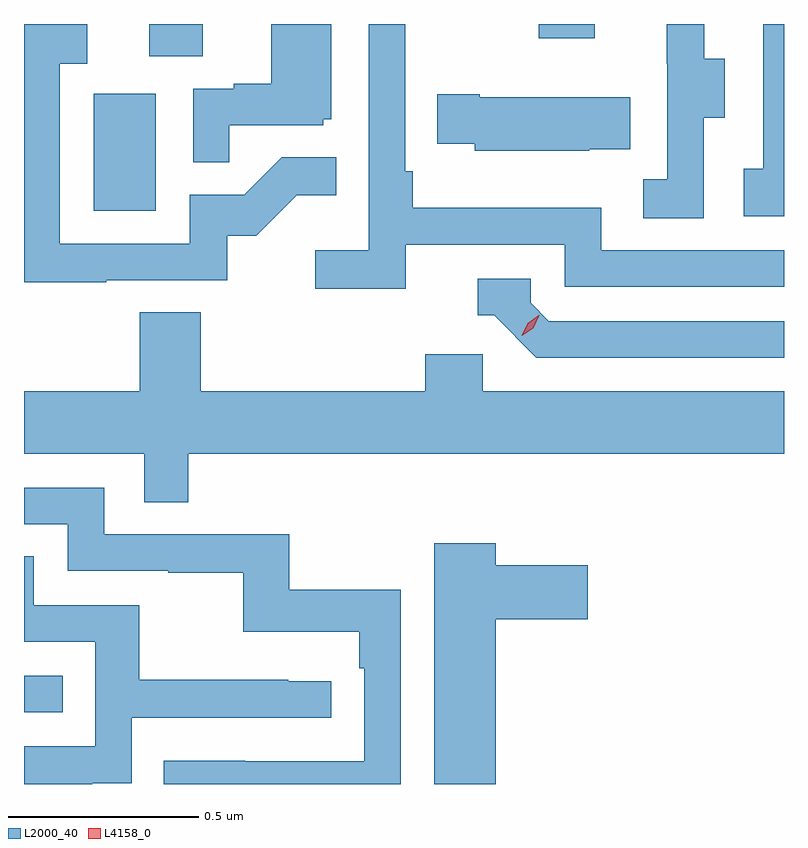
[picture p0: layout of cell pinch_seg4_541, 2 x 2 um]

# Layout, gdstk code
import gdstk
lib = gdstk.Library(unit=1e-6, precision=1e-09)
def R(c, l, rs):  # rectangles x0, y0, x1, y1
    for r in rs: c.add(gdstk.rectangle(r[:2], r[2:], *l))
def P(c, l, *ps):  # polygons
    for p in ps: c.add(gdstk.Polygon(p, *l))
L2000_40 = (2000, 40)
L4158_0 = (4158, 0)

pinch_seg4_541 = lib.new_cell('pinch_seg4_541')
R(pinch_seg4_541, L2000_40, [(1079.999,772.164,1080.101,772.26), (1080.182,773.484,1080.346,773.791), (1080.329,773.89,1080.469,773.975), (1081.354,773.937,1081.501,773.975)])
P(pinch_seg4_541, L2000_40, [(1080.215,773.301),(1080.534,773.301),(1080.534,773.418),(1080.61,773.418),(1080.717,773.525),(1080.821,773.525),(1080.821,773.624),(1080.677,773.624),(1080.579,773.526),(1080.435,773.526),(1080.435,773.397),(1080.093,773.397),(1080.093,773.871),(1080.166,773.871),(1080.166,773.975),(1079.999,773.975),(1079.999,773.296),(1080.215,773.296)],
  [(1081.788,773.728),(1081.843,773.728),(1081.843,773.883),(1081.789,773.883),(1081.789,773.975),(1081.691,773.975),(1081.691,773.871),(1081.692,773.871),(1081.692,773.567),(1081.629,773.567),(1081.629,773.464),(1081.788,773.464)],
  [(1080.539,773.709),(1080.786,773.709),(1080.786,773.724),(1080.808,773.724),(1080.808,773.975),(1080.65,773.975),(1080.65,773.818),(1080.551,773.818),(1080.551,773.805),(1080.444,773.805),(1080.444,773.611),(1080.539,773.611)],
  [(1081.999,773.975),(1081.944,773.975),(1081.944,773.594),(1081.893,773.594),(1081.893,773.469),(1081.999,773.469)],
  [(1081.004,773.394),(1081.422,773.394),(1081.422,773.283),(1081.999,773.283),(1081.999,773.379),(1081.518,773.379),(1081.518,773.491),(1081.022,773.491),(1081.022,773.587),(1081.002,773.587),(1081.002,773.975),(1080.906,773.975),(1080.906,773.38),(1080.765,773.38),(1080.765,773.278),(1081.004,773.278)],
  [(1081.487,773.645),(1081.595,773.645),(1081.595,773.782),(1081.198,773.782),(1081.198,773.79),(1081.087,773.79),(1081.087,773.66),(1081.185,773.66),(1081.185,773.642),(1081.487,773.642)],
  [(1081.999,773.193),(1081.38,773.193),(1081.332,773.241),(1081.332,773.304),(1081.193,773.304),(1081.193,773.208),(1081.236,773.208),(1081.347,773.097),(1081.999,773.097)],
  [(1080.431,772.844),(1081.999,772.844),(1081.999,773.008),(1081.206,773.008),(1081.206,773.106),(1081.055,773.106),(1081.055,773.008),(1080.464,773.008),(1080.464,773.216),(1080.304,773.216),(1080.304,773.008),(1079.999,773.008),(1079.999,772.844),(1080.315,772.844),(1080.315,772.717),(1080.431,772.717)],
  [(1080.99,772.486),(1080.697,772.486),(1080.697,772.632),(1080.21,772.632),(1080.21,772.755),(1079.999,772.755),(1079.999,772.659),(1080.114,772.659),(1080.114,772.536),(1080.379,772.536),(1080.379,772.531),(1080.576,772.531),(1080.576,772.376),(1080.881,772.376),(1080.881,772.28),(1080.894,772.28),(1080.894,772.035),(1080.581,772.035),(1080.581,772.036),(1080.367,772.036),(1080.367,771.975),(1080.99,771.975)],
  [(1081.24,772.409),(1081.483,772.409),(1081.483,772.551),(1081.24,772.551),(1081.24,772.609),(1081.079,772.609),(1081.079,771.975),(1081.24,771.975)],
  [(1080.179,771.977),(1080.282,771.977),(1080.282,772.149),(1080.808,772.149),(1080.808,772.245),(1080.695,772.245),(1080.695,772.25),(1080.302,772.25),(1080.302,772.446),(1080.025,772.446),(1080.025,772.574),(1079.999,772.574),(1079.999,772.35),(1080.186,772.35),(1080.186,772.074),(1079.999,772.074),(1079.999,771.975),(1080.179,771.975)])
P(pinch_seg4_541, L4158_0, [(1081.309,773.155),(1081.309,773.155),(1081.324,773.188),(1081.354,773.208),(1081.355,773.208),(1081.355,773.208),(1081.339,773.175),(1081.309,773.155)])

lib.write_gds('pinch_seg4_541.gds')
